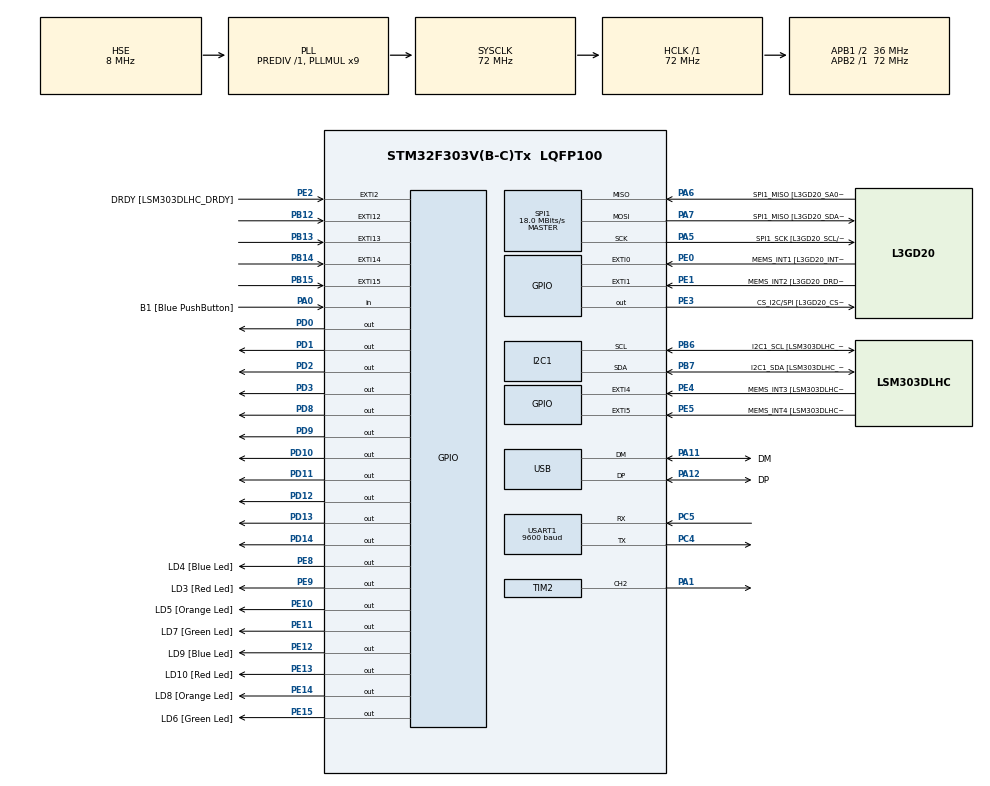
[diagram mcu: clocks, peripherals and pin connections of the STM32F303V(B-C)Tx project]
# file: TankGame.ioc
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I2C1.Timing-I2C=0x2000090E
Mcu.Family=STM32F3
Mcu.Name=STM32F303V(B-C)Tx
Mcu.Package=LQFP100
NVIC.EXTI15_10_IRQn=true\:1\:0\:true\:false\:true\:true\:true\:true
NVIC.PriorityGroup=NVIC_PRIORITYGROUP_1
NVIC.TIM1_BRK_TIM15_IRQn=true\:0\:0\:false\:false\:true\:true\:true\:true
NVIC.TIM1_CC_IRQn=true\:0\:0\:false\:false\:true\:true\:true\:true
NVIC.TIM1_TRG_COM_TIM17_IRQn=true\:0\:0\:false\:false\:true\:true\:true\:true
NVIC.TIM1_UP_TIM16_IRQn=true\:0\:0\:false\:false\:true\:true\:true\:true
NVIC.USART1_IRQn=true\:0\:0\:false\:false\:true\:true\:true\:true
PA0.GPIO_Label=B1 [Blue PushButton]
PA0.Signal=GPIO_Input
PA1.Signal=S_TIM2_CH2
PA11.GPIO_Label=DM
PA11.Mode=Device
PA11.Signal=USB_DM
PA12.GPIO_Label=DP
PA12.Mode=Device
PA12.Signal=USB_DP
PA13.GPIO_Label=SWDIO
PA13.Mode=Serial_Wire
PA13.Signal=SYS_JTMS-SWDIO
PA14.GPIO_Label=SWCLK
PA14.Mode=Serial_Wire
PA14.Signal=SYS_JTCK-SWCLK
PA5.GPIO_Label=SPI1_SCK [L3GD20_SCL/SPC]
PA5.Mode=Full_Duplex_Master
PA5.Signal=SPI1_SCK
PA6.GPIO_Label=SPI1_MISO [L3GD20_SA0/SDO]
PA6.Mode=Full_Duplex_Master
PA6.Signal=SPI1_MISO
PA7.GPIO_Label=SPI1_MISO [L3GD20_SDA/SDI/SDO]
PA7.Mode=Full_Duplex_Master
PA7.Signal=SPI1_MOSI
PB12.GPIO_ModeDefaultEXTI=GPIO_MODE_IT_RISING
PB12.GPIO_PuPd=GPIO_PULLDOWN
PB12.Signal=GPXTI12
PB13.GPIO_ModeDefaultEXTI=GPIO_MODE_IT_RISING
PB13.GPIO_PuPd=GPIO_PULLDOWN
PB13.Signal=GPXTI13
PB14.GPIO_ModeDefaultEXTI=GPIO_MODE_IT_RISING
PB14.GPIO_PuPd=GPIO_PULLDOWN
PB14.Signal=GPXTI14
PB15.GPIO_ModeDefaultEXTI=GPIO_MODE_IT_RISING
PB15.GPIO_PuPd=GPIO_PULLDOWN
PB15.Signal=GPXTI15
PB3.GPIO_Label=SWO
PB3.Signal=SYS_JTDO-TRACESWO
PB6.GPIO_Label=I2C1_SCL [LSM303DLHC_SCL]
PB6.GPIO_Pu=GPIO_PULLUP
PB6.Mode=I2C
PB6.Signal=I2C1_SCL
PB7.GPIO_Label=I2C1_SDA [LSM303DLHC_SDA]
PB7.GPIO_Pu=GPIO_PULLUP
PB7.Mode=I2C
PB7.Signal=I2C1_SDA
PC14-OSC32_IN.GPIO_Label=OSC32_IN
PC14-OSC32_IN.Signal=RCC_OSC32_IN
PC15-OSC32_OUT.GPIO_Label=OSC32_OUT
PC15-OSC32_OUT.Signal=RCC_OSC32_OUT
PC4.Mode=Asynchronous
PC4.Signal=USART1_TX
PC5.Mode=Asynchronous
PC5.Signal=USART1_RX
PD0.Signal=GPIO_Output
PD1.Signal=GPIO_Output
PD10.Signal=GPIO_Output
PD11.Signal=GPIO_Output
PD12.Signal=GPIO_Output
PD13.Signal=GPIO_Output
PD14.Signal=GPIO_Output
PD2.Signal=GPIO_Output
PD3.Signal=GPIO_Output
PD8.Signal=GPIO_Output
PD9.Signal=GPIO_Output
PE0.GPIO_Label=MEMS_INT1 [L3GD20_INT1]
PE0.GPIO_ModeDefaultEXTI=GPIO_MODE_EVT_RISING
PE0.Signal=GPXTI0
PE1.GPIO_Label=MEMS_INT2 [L3GD20_DRDY/INT2]
PE1.GPIO_ModeDefaultEXTI=GPIO_MODE_EVT_RISING
PE1.Signal=GPXTI1
PE10.GPIO_Label=LD5 [Orange Led]
PE10.Signal=GPIO_Output
PE11.GPIO_Label=LD7 [Green Led]
PE11.Signal=GPIO_Output
PE12.GPIO_Label=LD9 [Blue Led]
PE12.Signal=GPIO_Output
PE13.GPIO_Label=LD10 [Red Led]
PE13.Signal=GPIO_Output
PE14.GPIO_Label=LD8 [Orange Led]
PE14.Signal=GPIO_Output
PE15.GPIO_Label=LD6 [Green Led]
PE15.Signal=GPIO_Output
PE2.GPIO_Label=DRDY [LSM303DLHC_DRDY]
PE2.GPIO_ModeDefaultEXTI=GPIO_MODE_EVT_RISING
PE2.Signal=GPXTI2
PE3.GPIO_Label=CS_I2C/SPI [L3GD20_CS_I2C/SPI]
PE3.Signal=GPIO_Output
PE4.GPIO_Label=MEMS_INT3 [LSM303DLHC_INT1]
PE4.GPIO_ModeDefaultEXTI=GPIO_MODE_EVT_RISING
PE4.Signal=GPXTI4
PE5.GPIO_Label=MEMS_INT4 [LSM303DLHC_INT2]
PE5.GPIO_ModeDefaultEXTI=GPIO_MODE_EVT_RISING
PE5.Signal=GPXTI5
PE8.GPIO_Label=LD4 [Blue Led]
PE8.Signal=GPIO_Output
PE9.GPIO_Label=LD3 [Red Led]
PE9.Signal=GPIO_Output
PF0-OSC_IN.GPIO_Label=OSC_IN
PF0-OSC_IN.Mode=HSE-External-Clock-Source
PF0-OSC_IN.Signal=RCC_OSC_IN
PF1-OSC_OUT.GPIO_Label=OSC_OUT
PF1-OSC_OUT.Signal=RCC_OSC_OUT
ProjectManager.HeapSize=0x200
ProjectManager.StackSize=0x400
ProjectManager.TargetToolchain=STM32CubeIDE
RCC.AHBFreq_Value=72000000
RCC.APB1CLKDivider=RCC_HCLK_DIV2
RCC.APB1Freq_Value=36000000
RCC.APB1TimFreq_Value=72000000
RCC.APB2Freq_Value=72000000
RCC.APB2TimFreq_Value=72000000
RCC.CortexFreq_Value=72000000
RCC.HCLKFreq_Value=72000000
RCC.HSE_VALUE=8000000
RCC.HSI_VALUE=8000000
RCC.LSE_VALUE=32768
RCC.PLLMUL=RCC_PLL_MUL9
RCC.PRESCALERUSB=RCC_USBCLKSOURCE_PLL_DIV1_5
RCC.SYSCLKFreq_VALUE=72000000
RCC.SYSCLKSourceVirtual=RCC_SYSCLKSOURCE_PLLCLK
RCC.USBFreq_Value=48000000
RTC.AsynchPrediv=39
RTC.SynchPrediv=999
SH.S_TIM2_CH2.0=TIM2_CH2,PWM Generation2 CH2
SPI1.BaudRatePrescaler=SPI_BAUDRATEPRESCALER_4
SPI1.BaudRatePrescaler-Full_Duplex_Master=SPI_BAUDRATEPRESCALER_2
SPI1.CalculateBaudRate=18.0 MBits/s
SPI1.CalculateBaudRate-Full_Duplex_Master=24.0 MBits/s
SPI1.Direction=SPI_DIRECTION_2LINES
SPI1.Mode=SPI_MODE_MASTER
SPI1.Mode-Full_Duplex_Master=SPI_MODE_MASTER
SPI1.VirtualType=VM_MASTER
TIM1.Period=10000-1
TIM1.Prescaler=4800-1
TIM2.Channel-PWM\ Generation2\ CH2=TIM_CHANNEL_2
USART1.BaudRate=9600
USART1.VirtualMode-Asynchronous=VM_ASYNC
VP_RTC_VS_RTC_Activate.Mode=RTC_Enabled
VP_RTC_VS_RTC_Calendar.Mode=RTC_Calendar
VP_TIM1_VS_ClockSourceINT.Mode=Internal
board=STM32F3DISCOVERY

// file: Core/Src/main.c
/* USER CODE BEGIN Header */
/**
 ******************************************************************************
 * @file           : main.c
 * @brief          : Main program body
 ******************************************************************************
 * @attention
 *
 * Copyright (c) 2024 STMicroelectronics.
 * All rights reserved.
 *
 * This software is licensed under terms that can be found in the LICENSE file
 * in the root directory of this software component.
 * If no LICENSE file comes with this software, it is provided AS-IS.
 *
 ******************************************************************************
 */
/* USER CODE END Header */
#include "main.h"

/* USER CODE BEGIN PD */
#define NUM_HEARTS 3
#define NUM_BOXES 2
#define NUM_BULLETS 5
#define NUM_OBSTACLE 6
#define LCD_WIDTH 38
#define LCD_HEIGHT 2
/* USER CODE END PD */

I2C_HandleTypeDef hi2c1;

RTC_HandleTypeDef hrtc;

SPI_HandleTypeDef hspi1;

TIM_HandleTypeDef htim1;
TIM_HandleTypeDef htim2;

UART_HandleTypeDef huart1;

PCD_HandleTypeDef hpcd_USB_FS;

/* USER CODE BEGIN PV */
typedef enum {
	UP, DOWN, LEFT, RIGHT
} Direction;

int screen = 0; //0=main 1=play 2=about 3=setting 4=health 5=bullets
int R_Health = 5;
int L_Health = 5;
int R_bullets = 2;
int L_bullets = 1;
int dir = 0;
int shotedR = 0;
int shotedL = 0;
int shootFlag = 0;
int vfx = 1; //1 if on 0 if off
int win = 0;
int spawner = 0;

typedef unsigned char byte;
byte bullet[8] = { 0x08, 0x1C, 0x0B, 0x07, 0x0E, 0x1C, 0x08, 0x00 };
byte heart[8] = { 0x00, 0x0A, 0x1F, 0x1F, 0x1F, 0x0E, 0x04, 0x00 };
byte MisteryBox[8] = { 0x1F, 0x11, 0x15, 0x1D, 0x1B, 0x1B, 0x1F, 0x1B };
byte wall[8] = { 0x1F, 0x1F, 0x1F, 0x1F, 0x1F, 0x1F, 0x1F, 0x1F };
byte obstacle[8] = { 0x1F, 0x0E, 0x0E, 0x0E, 0x0E, 0x0E, 0x0E, 0x1F };
byte leftFox[8] = { 0x00, 0x00, 0x06, 0x1A, 0x0F, 0x1A, 0x06, 0x00 };
byte rightFox[8] = { 0x00, 0x00, 0x0C, 0x0B, 0x1E, 0x0B, 0x0C, 0x00 };
byte topFox[8] = { 0x00, 0x00, 0x00, 0x0A, 0x0E, 0x15, 0x1F, 0x04 };
byte bottomFox[8] = { 0x00, 0x04, 0x1F, 0x15, 0x0E, 0x0A, 0x00, 0x00 };
byte Shot[8] = { 0x00, 0x00, 0x00, 0x04, 0x0E, 0x04, 0x00, 0x00 };

typedef struct {
	int x;
	int y;
	char c;
} misteryBoxOBJ;
typedef struct {
	int x;
	int y;
	char c;
} heartOBJ;
typedef struct {
	int x;
	int y;
	char c;
} bulletOBJ;
typedef struct {
	int x;
	int y;
	char c;
} obstacleOBJ;
typedef struct {
	int x;
	int y;
	Direction direction;
	char c;
	int score;
} Player;
typedef struct {
	int col;
	int row;
	Direction direction;
	int isAlive;
} fire;
int num_shooted_bullet = 0;
fire fires[100];

Player playerR;
Player playerL;
byte *foxStates[4] = { leftFox, rightFox, topFox, bottomFox };
int currentStateR = 0;
int currentStateL = 0;
heartOBJ hearts[NUM_HEARTS];
misteryBoxOBJ boxes[NUM_BOXES];
bulletOBJ bullets[NUM_BULLETS];
obstacleOBJ obstacles[NUM_OBSTACLE];
char lcd[LCD_HEIGHT][LCD_WIDTH];

GPIO_TypeDef *const Row_ports[] = { GPIOB, GPIOB, GPIOB, GPIOB };
const uint16_t Row_pins[] =
		{ GPIO_PIN_12, GPIO_PIN_13, GPIO_PIN_14, GPIO_PIN_15 };
// RIGHT WIRES: Column1 PB12, Column2 PB13, Column3 PB14, Column4 PB15
GPIO_TypeDef *const Column_ports[] = { GPIOD, GPIOD, GPIOD, GPIOD };
const uint16_t Column_pins[] =
		{ GPIO_PIN_0, GPIO_PIN_1, GPIO_PIN_2, GPIO_PIN_3 };
// LEFT WIRES : D0 , D1,D2,D3
volatile uint32_t last_gpio_exti;

void HAL_GPIO_EXTI_Callback(uint16_t GPIO_Pin) {

	if (last_gpio_exti + 200 > HAL_GetTick()) // Simple button debouncing
			{
		return;
	}
	last_gpio_exti = HAL_GetTick();

	int8_t row_number = -1;
	int8_t column_number = -1;

	if (GPIO_Pin == GPIO_PIN_0) {
		// blue_button_pressed = 1;
		// return;
	}

	for (uint8_t row = 0; row < 4; row++) // Loop through Rows
			{
		if (GPIO_Pin == Row_pins[row]) {
			row_number = row;
		}
	}

	HAL_GPIO_WritePin(Column_ports[0], Column_pins[0], 0);
	HAL_GPIO_WritePin(Column_ports[1], Column_pins[1], 0);
	HAL_GPIO_WritePin(Column_ports[2], Column_pins[2], 0);
	HAL_GPIO_WritePin(Column_ports[3], Column_pins[3], 0);

	for (uint8_t col = 0; col < 4; col++) // Loop through Columns
			{
		HAL_GPIO_WritePin(Column_ports[col], Column_pins[col], 1);
		if (HAL_GPIO_ReadPin(Row_ports[row_number], Row_pins[row_number])) {

			column_number = col;
		}
		HAL_GPIO_WritePin(Column_ports[col], Column_pins[col], 0);
	}

	HAL_GPIO_WritePin(Column_ports[0], Column_pins[0], 1);
	HAL_GPIO_WritePin(Column_ports[1], Column_pins[1], 1);
	HAL_GPIO_WritePin(Column_ports[2], Column_pins[2], 1);
	HAL_GPIO_WritePin(Column_ports[3], Column_pins[3], 1);

	if (row_number == -1 || column_number == -1) {
		return; // Reject invalid scan
	}
	//   C0   C1   C2   C3
	// +----+----+----+----+
	// | 1  | 2  | 3  | 4  |  R0
	// +----+----+----+----+
	// | 5  | 6  | 7  | 8  |  R1
	// +----+----+----+----+
	// | 9  | 10 | 11 | 12 |  R2
	// +----+----+----+----+
	// | 13 | 14 | 15 | 16 |  R3
	// +----+----+----+----+
	//1 - 6 - 9 for the Right Player
	//4 -7 -12 for the left player
	const uint8_t button_number = row_number * 4 + column_number + 1;
	switch (button_number) {
	case 1:
		//TO DECREASE IN SETTING
		if (screen == 4) {
			R_Health = (R_Health + 10 - 1) % 10;
			HealthSetting();
		} else if (screen == 5) {
			R_bullets = (R_bullets + 10 - 1) % 10;
			bulletsSetting();
		}
		if (screen == 0) {
			screen = 1;
			HAL_TIM_Base_Start_IT(&htim1);
			refreshAll();
			initializeObjects();
			displayObjects();
		}
		if (screen == 1) {
			if (R_bullets > 0) {
				R_bullets--;
				shoot(&playerR);
				HAL_UART_Transmit(&huart1, "-Bullet for right", 16, 100000);
			}
		}

		/* code */
		break;
	case 2:

		if (screen == 0) {
			screen = 2;
			refreshAll();
			showAbout();
		}
		/* code */
		break;
	case 3:
		HAL_UART_Transmit(&huart1, "3", 1,
		HAL_MAX_DELAY);
		if (screen == 0) {
			screen = 3;
			refreshAll();
			showSetting();
		}
		/* code */
		break;
	case 4:
		if (screen == 1) {
			if (L_bullets > 0) {
				L_bullets--;
				shoot(&playerL);
				HAL_UART_Transmit(&huart1, "-Bullet for left", 15, 100000);
			}
			//shot(playerR.x, playerR.y + 1, currentStateR % 2);
		}

		//TO DECREASE IN SETTING
		if (screen == 4) {
			L_Health = (L_Health + 10 - 1) % 10;
			HealthSetting();
		} else if (screen == 5) {
			L_bullets = (L_bullets + 10 - 1) % 10;
			bulletsSetting();
		}

		break;
	case 5:
		HAL_UART_Transmit(&huart1, "5", 1,
		HAL_MAX_DELAY);
		/* code */
		break;
	case 6:
		HAL_UART_Transmit(&huart1, "6", 1,
		HAL_MAX_DELAY);
		changeFoxStateR(0);
		break;
	case 7:
		HAL_UART_Transmit(&huart1, "7", 1,
		HAL_MAX_DELAY);
		changeFoxStateR(1);
		/* code */
		break;
	case 8:
		//back btn
		refreshAll();
		if (screen == 4 | screen == 5) {
			screen = 3;
			showSetting();
		} else {
			screen = 0;
			showMain();
		}

		HAL_UART_Transmit(&huart1, "B", 1,
		HAL_MAX_DELAY);
		/* code */
		break;
	case 9:

		if (screen == 4) {
			R_Health = (R_Health + 1) % 10;
			HealthSetting();
		} else if (screen == 5) {
			R_bullets = (R_bullets + 1) % 10;
			bulletsSetting();
		}
		//right player
		if (screen == 1) {
			movement(&playerR, currentStateR);
		}
		break;
	case 10:
		/* code */
		break;
	case 11:
		/* code */
		break;
	case 12:
		if (screen == 4) {
			L_Health = (L_Health + 1) % 10;
			HealthSetting();
		} else if (screen == 5) {
			L_bullets = (L_bullets + 1) % 10;
			bulletsSetting();
		}
		if (screen == 1) {
			movement(&playerL, currentStateL);
		}
		/* code */
		break;
	case 13:
		/* code */
		if (screen = 3) {
			setCursor(20, 1);
			print("                   ");
			HealthSetting();
			screen = 4;
		}
		break;
	case 14:
		/* code */
		if (screen == 3) {
			screen = 5;
			setCursor(20, 1);
			print("                   ");
			bulletsSetting();
		}
		break;
	case 15:
		if (screen == 3) {
			vfx = (vfx + 1) % 2;
		}
		if (screen == 4 | screen == 5) {
			screen = 3;
			showSetting();
		}
		/* code */
		break;
	case 16:
		/* code */
		break;

	default:
		break;
	}
}

void refreshAll(void) {
	setCursor(0, 0);
	print("                   ");
	setCursor(0, 1);
	print("                   ");
	setCursor(20, 0);
	print("                   ");
	setCursor(20, 1);
	print("                   ");
}
/* USER CODE END PV */

void SystemClock_Config(void);
static void MX_GPIO_Init(void);
static void MX_I2C1_Init(void);
static void MX_SPI1_Init(void);
static void MX_USB_PCD_Init(void);
static void MX_USART1_UART_Init(void);
static void MX_RTC_Init(void);
static void MX_TIM1_Init(void);
static void MX_TIM2_Init(void);

/* USER CODE BEGIN 0 */

void changeFoxStateR(int Player) {
	byte *currentFoxR = foxStates[currentStateR];
	byte *currentFoxL = foxStates[currentStateL];

	if (!Player) {
		createChar(7, currentFoxR);
		currentStateR = (currentStateR + 1) % 4;
	} else {
		createChar(8, currentFoxL);
		currentStateL = (currentStateL + 1) % 4;
	}
	switch (currentStateR) {
	case 0:
		playerR.direction = UP;
		break;
	case 1:
		playerR.direction = RIGHT;
		break;
	case 2:
		playerR.direction = LEFT;
		break;
	case 3:
		playerR.direction = DOWN;
		break;
	default:
		break;
	}
	switch (currentStateL) {
	case 0:
		playerL.direction = UP;
		break;
	case 1:
		playerL.direction = RIGHT;
		break;
	case 2:
		playerL.direction = LEFT;
		break;
	case 3:
		playerL.direction = DOWN;
		break;
	default:
		break;
	}

}
void increase(int isHealth, Player *player) {
	if (isHealth) {
		if (player->c == 7) {
			R_Health++;
			if (R_Health > 9) {
				R_Health = 9;
			}
		} else {
			L_Health++;
			if (L_Health > 9) {
				L_Health = 9;
			}
		}
	} else {
		if (player->c == 7) {
			R_bullets++;
			if (R_bullets > 9) {
				R_bullets = 9;
			}
		} else {
			L_bullets++;
			if (L_bullets > 9) {
				L_bullets = 9;
			}
		}
	}
}

void shoot(Player *player) {

//	if (vfx) {
//		playExplosionSound();
//	}

	num_shooted_bullet++;

	for (int i = 0; i < num_shooted_bullet; i++) {
		if (!fires[i].isAlive) {
			fires[i].col = player->y;
			fires[i].row = player->x;
			fires[i].direction = player->direction;
			fires[i].isAlive = 1;
			shootFlag = 1;
			break;
		}
	}
}

void shotPosition() {
	for (int k = 0; k < num_shooted_bullet; k++) {
		if (fires[k].isAlive) {

			int col = fires[k].col;
			int row = fires[k].row;

			switch (fires[k].direction) {
			case RIGHT:
				fires[k].col++;
				break;
			case DOWN:
				if (row == 0) {
					fires[k].row = 1;
				} else if (row == 1 & col < 20) {
					fires[k].row = 0;
					fires[k].col += 20;
				}
				break;
			case LEFT:
				fires[k].col--;
				break;
			case UP:
				if (row == 1) {
					fires[k].row = 0;
				} else if (row == 0 & col >= 20) {
					fires[k].row = 1;
					fires[k].col -= 20;
				}
				break;
			default:
				break;
			}

			int f = lcd[fires[k].col][fires[k].row];

			if (f == 1 || f == 2 || f == 5) { // if health / bulletIcon / chance jump them
				do {
					switch (fires[k].direction) {
					case RIGHT:
						fires[k].col++;
						break;
					case DOWN:
						if (row == 0) {
							fires[k].row = 1;
						} else if (row == 1 & col < 20) {
							fires[k].row = 0;
							fires[k].col += 20;
						}
						break;
					case LEFT:
						fires[k].col--;
						break;
					case UP:
						if (row == 1) {
							fires[k].row = 0;
						} else if (row == 0 & col >= 20) {
							fires[k].row = 1;
							fires[k].col -= 20;
						}
						break;
					default:
						break;
					}

					f = lcd[fires[k].col][fires[k].row];
				} while (f == 5 || f == 1 || f == 2);
			} else if (f == 4) { //if wall
				fires[k].isAlive = 0;
			} else if (f == 3) { //if barrier
				lcd[fires[k].row][fires[k].col] = ' ';
//				HAL_UART_Transmit(&huart1, lcd[fires[k].row][fires[k].col], 1,
//						100000);
				fires[k].isAlive = 0;
			} else if (fires[k].col == playerR.y && fires[k].row == playerR.x) {
				//decreaseHealth playerR ;
				R_Health--;
				playerL.score++;
//				if (vfx) {
//					playTankHitSound();
//				}
				fires[k].isAlive = 0;
			} else if (fires[k].col == playerL.y && fires[k].row == playerL.x) {
				//decreaseHealth(playerL);
				L_Health--;
				playerR.score++;
				if (vfx) {
//					playTankHitSound();
				}
				fires[k].isAlive = 0;
			} else if (fires[k].col < 0 || fires[k].col >= 40
					|| fires[k].row < 0 || fires[k].row >= 2) {
				fires[k].isAlive = 0;
			}

			if (!(col == playerR.x && row == playerR.y)
					&& !(col == playerL.x && row == playerR.y)) {
				setCursor(col, row);
				print(" ");
				HAL_Delay(500);
			}

			if (fires[k].isAlive) {
				setCursor(fires[k].col, fires[k].row);
				write(6);
			} else {
				//num_shooted_bullet--;
				shootFlag = 0;
				setCursor(col, row);
				print(" ");
				fires[k].col = -1;
				fires[k].row = -1;
			}
		}

	}
}
void movement(Player *player, int currentState) {
//	char buffer[50]; // Buffer to hold the string
//
//	sprintf(buffer, "Player X: %d, Player Y: %d", player->x, player->y); // Convert integers to string
//
//	HAL_UART_Transmit(&huart1, (uint8_t*) buffer, strlen(buffer),
//	HAL_MAX_DELAY); // Transmit string over UART
	int oldX = player->x;
	int oldY = player->y;
	switch (currentState) {
	case 0:	//top

		if (player->x == 1 && lcd[0][player->y] != 4
				&& lcd[0][player->y] != 3) {
			//catching heart and bullet
			if (lcd[0][player->y] == 1) {
				increase(1, player);
			} else if (lcd[0][player->y] == 5) {
				increase(0, player);
			}
			player->x = 0;
		} else if (player->x == 0 && player->y >= 20) {
			if (lcd[1][(player->y) - 20] != 4
					&& lcd[1][(player->y) - 20] != 3) {
				//catching heart and bullet
				if (lcd[1][(player->y) - 20] == 1) {
					increase(1, player);
				} else if (lcd[1][(player->y) - 20] == 5) {
					increase(0, player);
				}
				player->x = 1;
				player->y = (player->y) - 20;
			}
		} else {
			HAL_UART_Transmit(&huart1, "CANT TOP", 8,
			HAL_MAX_DELAY);
		}
		break;
	case 1:	//right

		if (player->y >= 0 && player->y < 19) {
			if (lcd[player->x][(player->y) + 1] != 3
					&& lcd[player->x][(player->y) + 1] != 4) {
				//catching heart and bullet
				if (lcd[player->x][(player->y) + 1] == 1) {
					increase(1, player);
				} else if (lcd[player->x][(player->y) + 1] == 5) {
					increase(0, player);
				}
				player->y = (player->y) + 1;
			}
		} else if (player->y < 39 && player->y >= 20) {
			if (lcd[player->x][(player->y) + 1] != 3
					&& lcd[player->x][(player->y) + 1] != 4) {
				//catching heart and bullet
				if (lcd[player->x][(player->y) + 1] == 1) {
					increase(1, player);
				} else if (lcd[player->x][(player->y) + 1] == 5) {
					increase(0, player);
				}
				player->y = (player->y) + 1;
			}
		} else {
			HAL_UART_Transmit(&huart1, "CANT RIGHt", 10,
			HAL_MAX_DELAY);
		}
		break;

	case 2:	//left

		if (player->y > 0 && player->y <= 19) {
			if (lcd[player->x][(player->y) - 1] != 3
					&& lcd[player->x][(player->y) - 1] != 4) {
				//catching heart and bullet
				if (lcd[player->x][(player->y) - 1] == 1) {
					increase(1, player);
				} else if (lcd[player->x][(player->y) - 1] == 5) {
					increase(0, player);
				}

				player->y = (player->y) - 1;
			}
		} else if (player->y <= 39 && player->y > 20) {
			if (lcd[player->x][(player->y) - 1] != 3
					&& lcd[player->x][(player->y) - 1] != 4) {

				//catching heart and bullet
				if (lcd[player->x][(player->y) - 1] == 1) {
					increase(1, player);
				} else if (lcd[player->x][(player->y) - 1] == 5) {
					increase(0, player);
				}

				player->y = (player->y) - 1;
			}
		} else {
			HAL_UART_Transmit(&huart1, "CANT LEFT", 9,
			HAL_MAX_DELAY);
		}
		break;
		break;
	case 3:	//bot
		if (player->x == 0 && lcd[1][player->y] != 4
				&& lcd[1][player->y] != 3) {
			//catching heart and bullet
			if (lcd[1][player->y] == 1) {
				increase(1, player);
			} else if (lcd[1][player->y] == 5) {
				increase(0, player);
			}

			player->x = 1;
		} else if (player->x == 1 && player->y < 20) {
			if (lcd[0][(player->y) + 20] != 4) {
				//catching heart and bullet
				if (lcd[0][(player->y) + 20] == 1) {
					increase(1, player);
				} else if (lcd[0][(player->y) + 20] == 5) {
					increase(0, player);
				}
				player->x = 0;
				player->y = (player->y) + 20;
			}
		} else {
			HAL_UART_Transmit(&huart1, "CANT BOT", 8,
			HAL_MAX_DELAY);
		}
		break;
	}

	lcd[player->x][player->y] = player->c;

	// Clear the old position on the LCD
	setCursor(oldY, oldX);
	write(' ');

	// Write the player's character at the new position on the LCD
	setCursor(player->y, player->x);
	write(player->c);

}

void initializeObjects() {
	playerR.x = 1;
	playerR.y = 19;
	playerR.c = 7;
	playerL.c = 8;
	playerL.x = 1;
	playerL.y = 0;
	for (int i = 0; i < LCD_HEIGHT; i++) {
		for (int j = 0; j < LCD_WIDTH; j++) {
			lcd[i][j] = ' ';  // Empty cell
		}
	}

	//hearts
	for (int i = 0; i < NUM_HEARTS; i++) {
		hearts[i].x = 3 + rand() % 28;  // Random number between 3 and 30
		hearts[i].y = rand() % 2;       // Random number between 0 and 1
		hearts[i].c = 1;
	}

	//  mistery boxes
	for (int i = 0; i < NUM_BOXES; i++) {
		boxes[i].x = 3 + rand() % 28;  // Random number between 3 and 30
		boxes[i].y = rand() % 2;       // Random number between 0 and 1
		boxes[i].c = 2;
	}

	//bullets
	for (int i = 0; i < NUM_BULLETS; i++) {
		bullets[i].x = 3 + rand() % 28;  // Random number between 3 and 30
		bullets[i].y = rand() % 2;       // Random number between 0 and 1
		bullets[i].c = 5;
	}
	//obstacles
	for (int i = 0; i < NUM_OBSTACLE; i++) {
		obstacles[i].x = 3 + rand() % 28;  // Random number between 3 and 30
		obstacles[i].y = rand() % 2;       // Random number between 0 and 1
		obstacles[i].c = 4;
	}
	for (int i = 0; i < NUM_HEARTS; i++) {
		lcd[hearts[i].y][hearts[i].x] = hearts[i].c;
	}
	for (int i = 0; i < NUM_BULLETS; i++) {
		lcd[bullets[i].y][bullets[i].x] = bullets[i].c;
	}
	for (int i = 0; i < NUM_BOXES; i++) {
		lcd[boxes[i].y][boxes[i].x] = boxes[i].c;
	}
	for (int i = 0; i < NUM_OBSTACLE; i++) {
		lcd[obstacles[i].y][obstacles[i].x] = obstacles[i].c;
	}
	//WALLS
	lcd[1][1] = 3;
	lcd[0][22] = 3;
	lcd[1][18] = 3;
	lcd[0][37] = 3;

	//[0][38] [0][39] [1][38] [1][39]  are dead
	//Wolves
	lcd[playerR.x][playerR.y] = playerR.c;
	lcd[playerL.x][playerL.y] = playerL.c;
	//lcd[1][0]=8;
	//lcd[1][19]=7;
}

void displayObjects() {
	// Display the objects based on the screen array
	for (int i = 0; i < LCD_HEIGHT; i++) {
		for (int j = 0; j < LCD_WIDTH; j++) {
			setCursor(j, i);
			write(lcd[i][j]);
		}
	}
}

//MENU PART
void showMain(void) {
	setCursor(0, 0);
	print("1- Play");
	setCursor(0, 1);
	print("2- About");
	write(1);
	setCursor(20, 0);
	print("3- Setting");
}

void showAbout(void) {
	setCursor(0, 0);
	print("Kimiya & Atiye");
}

void showSetting(void) {
	setCursor(0, 0);
	print("Right vs Left");
	setCursor(0, 1);
	print("0-Bullets");
	setCursor(20, 0);
	print("*-Health");
}

void bulletsSetting(void) {
	setCursor(0, 1);
	char RBStr[20];
	sprintf(RBStr, "Right Bullets:%d", R_bullets);
	print(RBStr);
	setCursor(20, 0);

	char LBStr[20];
	sprintf(LBStr, "Left Bullets:%d", L_bullets);
	print(LBStr);
	setCursor(20, 1);

	print("#-Confirm");
}

void HealthSetting(void) {
	setCursor(0, 1);
	char RBStr[20];
	sprintf(RBStr, "Right Health:%d", R_Health);
	print(RBStr);
	setCursor(20, 0);

	char LBStr[20];
	sprintf(LBStr, "Left Health:%d", L_Health);
	print(LBStr);
	setCursor(20, 1);

	print("#-Confirm");
}

//TIM_HandleTypeDef *pwm_timer = &htim2; // Point to PWM timer configured in CubeMX
//uint32_t pwm_channel = TIM_CHANNEL_2;  // Specify configured PWM channel
//
//void PWM_Start() {
//	HAL_TIM_PWM_Start(pwm_timer, pwm_channel);
//}
//
//void PWM_Change_Tone(uint16_t pwm_freq, uint16_t volume) // pwm_freq (1 - 20000), volume (0 - 1000)
//{
//	if (pwm_freq == 0 || pwm_freq > 20000) {
//		__HAL_TIM_SET_COMPARE(pwm_timer, pwm_channel, 0);
//	} else {
//		const uint32_t internal_clock_freq = HAL_RCC_GetSysClockFreq();
//		const uint16_t prescaler = 1 + internal_clock_freq / pwm_freq / 60000;
//		const uint32_t timer_clock = internal_clock_freq / prescaler;
//		const uint32_t period_cycles = timer_clock / pwm_freq;
//		const uint32_t pulse_width = volume * period_cycles / 1000 / 2;
//
//		pwm_timer->Instance->PSC = prescaler - 1;
//		pwm_timer->Instance->ARR = period_cycles - 1;
//		pwm_timer->Instance->EGR = TIM_EGR_UG;
//		__HAL_TIM_SET_COMPARE(pwm_timer, pwm_channel, pulse_width); // pwm_timer->Instance->CCR2 = pulse_width;
//	}
//}

void spawnRandomObject() {

	int x, y;
	do {
		x = rand() % LCD_WIDTH;
		y = rand() % LCD_HEIGHT;
	} while (lcd[y][x] != ' ');

	if (rand() % 2 == 0) {

		lcd[y][x] = 1; //heart
	} else {

		lcd[y][x] = 5; //bullets
	}
	HAL_UART_Transmit(&huart1, lcd[y][x], 1,
	HAL_MAX_DELAY);
	setCursor(x, y);
	write(lcd[y][x]);
}

//CALL BACKS-----------------------------------------------------------------

void HAL_TIM_PeriodElapsedCallback(TIM_HandleTypeDef *htim) {
	if (htim->Instance == TIM1) {
		if (screen == 1) {
			spawner++;
			if (spawner >= 30) {
				spawnRandomObject();
				spawner = 0;
			}
		}
	}
}

//void HAL_UART_TxCpltCallback(UART_HandleTypeDef *huart) {
//  if (huart->Instance == USART3) {
//    memset(inArray, '\0', sizeof(inArray));
//  }
//}
//
//void HAL_UART_RxCpltCallback(UART_HandleTypeDef *huart) {
//  if (huart->Instance == USART3) {
//    inArray[idx] = rx_byte;
//    idx++;
//    if (idx == 9) {
//      idx = 0;
//      parser();
//      uarttime = 0;
//      uartdate = 1;
//    }
//    HAL_UART_Receive_IT(&huart3, &rx_byte, 1);
//  }
//}

//SETTERS -----------------------------------------------------------------

void setScore(int score) {
	char buffer[50];
	sprintf(buffer, "\nScore: %d", score);
	HAL_UART_Transmit(&huart1, (uint8_t*) buffer, strlen(buffer),
	HAL_MAX_DELAY);
}
//void setRtcTime() {
//  mytime.Hours = (int) hour;
//  mytime.Minutes = (int) minute;
//  mytime.Seconds = (int) second;
//
//  if (HAL_RTC_SetTime(&hrtc, &mytime, RTC_FORMAT_BIN) != HAL_OK) {
//    Error_Handler();
//  }
//
//  mydate.Year = year;
//  mydate.Month = month;
//  mydate.Date = day;
//
//  if (HAL_RTC_SetDate(&hrtc, &mydate, RTC_FORMAT_BIN) != HAL_OK) {
//    Error_Handler();
//  }
//}
//

/* USER CODE END 0 */

int main(void)
{

  /* MCU Configuration--------------------------------------------------------*/

  /* Reset of all peripherals, Initializes the Flash interface and the Systick. */
  HAL_Init();

  /* Configure the system clock */
  SystemClock_Config();

  /* Initialize all configured peripherals */
  MX_GPIO_Init();
  MX_I2C1_Init();
  MX_SPI1_Init();
  MX_USB_PCD_Init();
  MX_USART1_UART_Init();
  MX_RTC_Init();
  MX_TIM1_Init();
  MX_TIM2_Init();
  /* USER CODE BEGIN 2 */
	HAL_GPIO_WritePin(GPIOB, GPIO_PIN_14, GPIO_PIN_SET);
	HAL_GPIO_WritePin(GPIOB, GPIO_PIN_15, GPIO_PIN_SET);
	HAL_GPIO_WritePin(GPIOB, GPIO_PIN_12, GPIO_PIN_SET);
	HAL_GPIO_WritePin(GPIOB, GPIO_PIN_13, GPIO_PIN_SET);
	HAL_UART_Transmit(&huart1, "yo", 2,
	HAL_MAX_DELAY);
	srand(time(NULL));  // Initialize the random number generator

	LiquidCrystal(GPIOD, GPIO_PIN_8, GPIO_PIN_9, GPIO_PIN_10, GPIO_PIN_11,
	GPIO_PIN_12, GPIO_PIN_13, GPIO_PIN_14);

	byte *foxStates[4] = { leftFox, rightFox, topFox, bottomFox };

	createChar(2, MisteryBox);
	createChar(3, wall);
	createChar(4, obstacle);
	createChar(1, heart);
	createChar(5, bullet);
	createChar(6, Shot);
	RTC_TimeTypeDef mytime;
	RTC_DateTypeDef mydate;
	mydate.Year = 02;
	mydate.Month = 11;
	mydate.Date = 17;
	HAL_RTC_SetDate(&hrtc, &mydate, RTC_FORMAT_BIN);
	//HAL_UART_Receive_IT(&huart3, &rx_byte, 1);
	char timeStr[20];
	char dateStr[20];
	showMain();
	call_change_melody();

  /* USER CODE END 2 */

  /* Infinite loop */
  /* USER CODE BEGIN WHILE */
	while (1) {

		if (screen ==1) {
			PWM_Stop();
		}

		if (shootFlag == 1) {
			shotPosition();
		}
    /* USER CODE END WHILE */

    /* USER CODE BEGIN 3 */
		if (R_Health == 0) {
			refreshAll();
			HAL_UART_Transmit(&huart1, "Right WON!", 10,
			HAL_MAX_DELAY);
			setScore(playerL.score);
			screen = -1;
			for (int i = 0; i < 19; i++) {
				setCursor(i, 1);
				write(1);
				HAL_Delay(400);
			}
		}

		if (L_Health == 0) {
			refreshAll();
			HAL_UART_Transmit(&huart1, "LEFT WON!", 9,
			HAL_MAX_DELAY);
			setScore(playerR.score);
			screen = -1;
			for (int i = 0; i < 19; i++) {
				setCursor(i, 1);
				write(1);
				HAL_Delay(400);
			}
		}
		if (screen == -1) {
			setCursor(7, 1);
			print("THE END");
		}
		if (screen == 2) {
//			if (timeFlag) {
//				setRtcTime();
//				timeFlag = 0;
//			}
			HAL_RTC_GetTime(&hrtc, &mytime, RTC_FORMAT_BIN);
			HAL_RTC_GetDate(&hrtc, &mydate, RTC_FORMAT_BIN);
			setCursor(20, 0);
			sprintf(timeStr, "%2d:%2d:%2d", mytime.Hours, mytime.Minutes,
					mytime.Seconds);

			print(timeStr);
			setCursor(20, 1);
			sprintf(dateStr, "%2d//%2d//%2d", mydate.Year, mydate.Month,
					mydate.Date);

			print(dateStr);

		}

		if (screen == 3) {
			setCursor(20, 1);
			if (vfx) {
				print("vfx on-# to turn off");
			} else {
				print("vfx off-# to turn on ");
			}
		}

	}
  /* USER CODE END 3 */
}

void SystemClock_Config(void)
{
  RCC_OscInitTypeDef RCC_OscInitStruct = {0};
  RCC_ClkInitTypeDef RCC_ClkInitStruct = {0};
  RCC_PeriphCLKInitTypeDef PeriphClkInit = {0};

  /** Initializes the RCC Oscillators according to the specified parameters
  * in the RCC_OscInitTypeDef structure.
  */
  RCC_OscInitStruct.OscillatorType = RCC_OSCILLATORTYPE_HSI|RCC_OSCILLATORTYPE_LSI
                              |RCC_OSCILLATORTYPE_HSE;
  RCC_OscInitStruct.HSEState = RCC_HSE_BYPASS;
  RCC_OscInitStruct.HSEPredivValue = RCC_HSE_PREDIV_DIV1;
  RCC_OscInitStruct.HSIState = RCC_HSI_ON;
  RCC_OscInitStruct.HSICalibrationValue = RCC_HSICALIBRATION_DEFAULT;
  RCC_OscInitStruct.LSIState = RCC_LSI_ON;
  RCC_OscInitStruct.PLL.PLLState = RCC_PLL_ON;
  RCC_OscInitStruct.PLL.PLLSource = RCC_PLLSOURCE_HSE;
  RCC_OscInitStruct.PLL.PLLMUL = RCC_PLL_MUL9;
  if (HAL_RCC_OscConfig(&RCC_OscInitStruct) != HAL_OK)
  {
    Error_Handler();
  }

  /** Initializes the CPU, AHB and APB buses clocks
  */
  RCC_ClkInitStruct.ClockType = RCC_CLOCKTYPE_HCLK|RCC_CLOCKTYPE_SYSCLK
                              |RCC_CLOCKTYPE_PCLK1|RCC_CLOCKTYPE_PCLK2;
  RCC_ClkInitStruct.SYSCLKSource = RCC_SYSCLKSOURCE_PLLCLK;
  RCC_ClkInitStruct.AHBCLKDivider = RCC_SYSCLK_DIV1;
  RCC_ClkInitStruct.APB1CLKDivider = RCC_HCLK_DIV2;
  RCC_ClkInitStruct.APB2CLKDivider = RCC_HCLK_DIV1;

  if (HAL_RCC_ClockConfig(&RCC_ClkInitStruct, FLASH_LATENCY_2) != HAL_OK)
  {
    Error_Handler();
  }
  PeriphClkInit.PeriphClockSelection = RCC_PERIPHCLK_USB|RCC_PERIPHCLK_USART1
                              |RCC_PERIPHCLK_I2C1|RCC_PERIPHCLK_RTC
                              |RCC_PERIPHCLK_TIM1;
  PeriphClkInit.Usart1ClockSelection = RCC_USART1CLKSOURCE_PCLK2;
  PeriphClkInit.I2c1ClockSelection = RCC_I2C1CLKSOURCE_HSI;
  PeriphClkInit.RTCClockSelection = RCC_RTCCLKSOURCE_LSI;
  PeriphClkInit.USBClockSelection = RCC_USBCLKSOURCE_PLL_DIV1_5;
  PeriphClkInit.Tim1ClockSelection = RCC_TIM1CLK_HCLK;
  if (HAL_RCCEx_PeriphCLKConfig(&PeriphClkInit) != HAL_OK)
  {
    Error_Handler();
  }
}

static void MX_I2C1_Init(void)
{

  hi2c1.Instance = I2C1;
  hi2c1.Init.Timing = 0x2000090E;
  hi2c1.Init.OwnAddress1 = 0;
  hi2c1.Init.AddressingMode = I2C_ADDRESSINGMODE_7BIT;
  hi2c1.Init.DualAddressMode = I2C_DUALADDRESS_DISABLE;
  hi2c1.Init.OwnAddress2 = 0;
  hi2c1.Init.OwnAddress2Masks = I2C_OA2_NOMASK;
  hi2c1.Init.GeneralCallMode = I2C_GENERALCALL_DISABLE;
  hi2c1.Init.NoStretchMode = I2C_NOSTRETCH_DISABLE;
  if (HAL_I2C_Init(&hi2c1) != HAL_OK)
  {
    Error_Handler();
  }

  /** Configure Analogue filter
  */
  if (HAL_I2CEx_ConfigAnalogFilter(&hi2c1, I2C_ANALOGFILTER_ENABLE) != HAL_OK)
  {
    Error_Handler();
  }

  /** Configure Digital filter
  */
  if (HAL_I2CEx_ConfigDigitalFilter(&hi2c1, 0) != HAL_OK)
  {
    Error_Handler();
  }

}

static void MX_RTC_Init(void)
{

  RTC_TimeTypeDef sTime = {0};
  RTC_DateTypeDef sDate = {0};

  /** Initialize RTC Only
  */
  hrtc.Instance = RTC;
  hrtc.Init.HourFormat = RTC_HOURFORMAT_24;
  hrtc.Init.AsynchPrediv = 39;
  hrtc.Init.SynchPrediv = 999;
  hrtc.Init.OutPut = RTC_OUTPUT_DISABLE;
  hrtc.Init.OutPutPolarity = RTC_OUTPUT_POLARITY_HIGH;
  hrtc.Init.OutPutType = RTC_OUTPUT_TYPE_OPENDRAIN;
  if (HAL_RTC_Init(&hrtc) != HAL_OK)
  {
    Error_Handler();
  }

  /** Initialize RTC and set the Time and Date
  */
  sTime.Hours = 0x0;
  sTime.Minutes = 0x0;
  sTime.Seconds = 0x0;
  sTime.DayLightSaving = RTC_DAYLIGHTSAVING_NONE;
  sTime.StoreOperation = RTC_STOREOPERATION_RESET;
  if (HAL_RTC_SetTime(&hrtc, &sTime, RTC_FORMAT_BCD) != HAL_OK)
  {
    Error_Handler();
  }
  sDate.WeekDay = RTC_WEEKDAY_MONDAY;
  sDate.Month = RTC_MONTH_JANUARY;
  sDate.Date = 0x1;
  sDate.Year = 0x0;

  if (HAL_RTC_SetDate(&hrtc, &sDate, RTC_FORMAT_BCD) != HAL_OK)
  {
    Error_Handler();
  }

}

static void MX_SPI1_Init(void)
{

  /* SPI1 parameter configuration*/
  hspi1.Instance = SPI1;
  hspi1.Init.Mode = SPI_MODE_MASTER;
  hspi1.Init.Direction = SPI_DIRECTION_2LINES;
  hspi1.Init.DataSize = SPI_DATASIZE_4BIT;
  hspi1.Init.CLKPolarity = SPI_POLARITY_LOW;
  hspi1.Init.CLKPhase = SPI_PHASE_1EDGE;
  hspi1.Init.NSS = SPI_NSS_SOFT;
  hspi1.Init.BaudRatePrescaler = SPI_BAUDRATEPRESCALER_4;
  hspi1.Init.FirstBit = SPI_FIRSTBIT_MSB;
  hspi1.Init.TIMode = SPI_TIMODE_DISABLE;
  hspi1.Init.CRCCalculation = SPI_CRCCALCULATION_DISABLE;
  hspi1.Init.CRCPolynomial = 7;
  hspi1.Init.CRCLength = SPI_CRC_LENGTH_DATASIZE;
  hspi1.Init.NSSPMode = SPI_NSS_PULSE_ENABLE;
  if (HAL_SPI_Init(&hspi1) != HAL_OK)
  {
    Error_Handler();
  }

}

static void MX_TIM1_Init(void)
{

  TIM_ClockConfigTypeDef sClockSourceConfig = {0};
  TIM_MasterConfigTypeDef sMasterConfig = {0};

  htim1.Instance = TIM1;
  htim1.Init.Prescaler = 4800-1;
  htim1.Init.CounterMode = TIM_COUNTERMODE_UP;
  htim1.Init.Period = 10000-1;
  htim1.Init.ClockDivision = TIM_CLOCKDIVISION_DIV1;
  htim1.Init.RepetitionCounter = 0;
  htim1.Init.AutoReloadPreload = TIM_AUTORELOAD_PRELOAD_DISABLE;
  if (HAL_TIM_Base_Init(&htim1) != HAL_OK)
  {
    Error_Handler();
  }
  sClockSourceConfig.ClockSource = TIM_CLOCKSOURCE_INTERNAL;
  if (HAL_TIM_ConfigClockSource(&htim1, &sClockSourceConfig) != HAL_OK)
  {
    Error_Handler();
  }
  sMasterConfig.MasterOutputTrigger = TIM_TRGO_RESET;
  sMasterConfig.MasterOutputTrigger2 = TIM_TRGO2_RESET;
  sMasterConfig.MasterSlaveMode = TIM_MASTERSLAVEMODE_DISABLE;
  if (HAL_TIMEx_MasterConfigSynchronization(&htim1, &sMasterConfig) != HAL_OK)
  {
    Error_Handler();
  }

}

static void MX_TIM2_Init(void)
{

  TIM_MasterConfigTypeDef sMasterConfig = {0};
  TIM_OC_InitTypeDef sConfigOC = {0};

  htim2.Instance = TIM2;
  htim2.Init.Prescaler = 0;
  htim2.Init.CounterMode = TIM_COUNTERMODE_UP;
  htim2.Init.Period = 4294967295;
  htim2.Init.ClockDivision = TIM_CLOCKDIVISION_DIV1;
  htim2.Init.AutoReloadPreload = TIM_AUTORELOAD_PRELOAD_DISABLE;
  if (HAL_TIM_PWM_Init(&htim2) != HAL_OK)
  {
    Error_Handler();
  }
  sMasterConfig.MasterOutputTrigger = TIM_TRGO_RESET;
  sMasterConfig.MasterSlaveMode = TIM_MASTERSLAVEMODE_DISABLE;
  if (HAL_TIMEx_MasterConfigSynchronization(&htim2, &sMasterConfig) != HAL_OK)
  {
    Error_Handler();
  }
  sConfigOC.OCMode = TIM_OCMODE_PWM1;
  sConfigOC.Pulse = 0;
  sConfigOC.OCPolarity = TIM_OCPOLARITY_HIGH;
  sConfigOC.OCFastMode = TIM_OCFAST_DISABLE;
  if (HAL_TIM_PWM_ConfigChannel(&htim2, &sConfigOC, TIM_CHANNEL_2) != HAL_OK)
  {
    Error_Handler();
  }
  HAL_TIM_MspPostInit(&htim2);

}

static void MX_USART1_UART_Init(void)
{

  huart1.Instance = USART1;
  huart1.Init.BaudRate = 9600;
  huart1.Init.WordLength = UART_WORDLENGTH_8B;
  huart1.Init.StopBits = UART_STOPBITS_1;
  huart1.Init.Parity = UART_PARITY_NONE;
  huart1.Init.Mode = UART_MODE_TX_RX;
  huart1.Init.HwFlowCtl = UART_HWCONTROL_NONE;
  huart1.Init.OverSampling = UART_OVERSAMPLING_16;
  huart1.Init.OneBitSampling = UART_ONE_BIT_SAMPLE_DISABLE;
  huart1.AdvancedInit.AdvFeatureInit = UART_ADVFEATURE_NO_INIT;
  if (HAL_UART_Init(&huart1) != HAL_OK)
  {
    Error_Handler();
  }

}

static void MX_USB_PCD_Init(void)
{

  hpcd_USB_FS.Instance = USB;
  hpcd_USB_FS.Init.dev_endpoints = 8;
  hpcd_USB_FS.Init.speed = PCD_SPEED_FULL;
  hpcd_USB_FS.Init.phy_itface = PCD_PHY_EMBEDDED;
  hpcd_USB_FS.Init.low_power_enable = DISABLE;
  hpcd_USB_FS.Init.battery_charging_enable = DISABLE;
  if (HAL_PCD_Init(&hpcd_USB_FS) != HAL_OK)
  {
    Error_Handler();
  }

}

static void MX_GPIO_Init(void)
{
  GPIO_InitTypeDef GPIO_InitStruct = {0};

  /* GPIO Ports Clock Enable */
  __HAL_RCC_GPIOE_CLK_ENABLE();
  __HAL_RCC_GPIOC_CLK_ENABLE();
  __HAL_RCC_GPIOF_CLK_ENABLE();
  __HAL_RCC_GPIOA_CLK_ENABLE();
  __HAL_RCC_GPIOB_CLK_ENABLE();
  __HAL_RCC_GPIOD_CLK_ENABLE();

  /*Configure GPIO pin Output Level */
  HAL_GPIO_WritePin(GPIOE, CS_I2C_SPI_Pin|LD4_Pin|LD3_Pin|LD5_Pin
                          |LD7_Pin|LD9_Pin|LD10_Pin|LD8_Pin
                          |LD6_Pin, GPIO_PIN_RESET);

  /*Configure GPIO pin Output Level */
  HAL_GPIO_WritePin(GPIOD, GPIO_PIN_8|GPIO_PIN_9|GPIO_PIN_10|GPIO_PIN_11
                          |GPIO_PIN_12|GPIO_PIN_13|GPIO_PIN_14|GPIO_PIN_0
                          |GPIO_PIN_1|GPIO_PIN_2|GPIO_PIN_3, GPIO_PIN_RESET);

  /*Configure GPIO pins : DRDY_Pin MEMS_INT3_Pin MEMS_INT4_Pin MEMS_INT1_Pin
                           MEMS_INT2_Pin */
  GPIO_InitStruct.Pin = DRDY_Pin|MEMS_INT3_Pin|MEMS_INT4_Pin|MEMS_INT1_Pin
                          |MEMS_INT2_Pin;
  GPIO_InitStruct.Mode = GPIO_MODE_EVT_RISING;
  GPIO_InitStruct.Pull = GPIO_NOPULL;
  HAL_GPIO_Init(GPIOE, &GPIO_InitStruct);

  /*Configure GPIO pins : CS_I2C_SPI_Pin LD4_Pin LD3_Pin LD5_Pin
                           LD7_Pin LD9_Pin LD10_Pin LD8_Pin
                           LD6_Pin */
  GPIO_InitStruct.Pin = CS_I2C_SPI_Pin|LD4_Pin|LD3_Pin|LD5_Pin
                          |LD7_Pin|LD9_Pin|LD10_Pin|LD8_Pin
                          |LD6_Pin;
  GPIO_InitStruct.Mode = GPIO_MODE_OUTPUT_PP;
  GPIO_InitStruct.Pull = GPIO_NOPULL;
  GPIO_InitStruct.Speed = GPIO_SPEED_FREQ_LOW;
  HAL_GPIO_Init(GPIOE, &GPIO_InitStruct);

  /*Configure GPIO pin : B1_Pin */
  GPIO_InitStruct.Pin = B1_Pin;
  GPIO_InitStruct.Mode = GPIO_MODE_INPUT;
  GPIO_InitStruct.Pull = GPIO_NOPULL;
  HAL_GPIO_Init(B1_GPIO_Port, &GPIO_InitStruct);

  /*Configure GPIO pins : PB12 PB13 PB14 PB15 */
  GPIO_InitStruct.Pin = GPIO_PIN_12|GPIO_PIN_13|GPIO_PIN_14|GPIO_PIN_15;
  GPIO_InitStruct.Mode = GPIO_MODE_IT_RISING;
  GPIO_InitStruct.Pull = GPIO_PULLDOWN;
  HAL_GPIO_Init(GPIOB, &GPIO_InitStruct);

  /*Configure GPIO pins : PD8 PD9 PD10 PD11
                           PD12 PD13 PD14 PD0
                           PD1 PD2 PD3 */
  GPIO_InitStruct.Pin = GPIO_PIN_8|GPIO_PIN_9|GPIO_PIN_10|GPIO_PIN_11
                          |GPIO_PIN_12|GPIO_PIN_13|GPIO_PIN_14|GPIO_PIN_0
                          |GPIO_PIN_1|GPIO_PIN_2|GPIO_PIN_3;
  GPIO_InitStruct.Mode = GPIO_MODE_OUTPUT_PP;
  GPIO_InitStruct.Pull = GPIO_NOPULL;
  GPIO_InitStruct.Speed = GPIO_SPEED_FREQ_LOW;
  HAL_GPIO_Init(GPIOD, &GPIO_InitStruct);

  /* EXTI interrupt init*/
  HAL_NVIC_SetPriority(EXTI15_10_IRQn, 1, 0);
  HAL_NVIC_EnableIRQ(EXTI15_10_IRQn);

}

void Error_Handler(void)
{
	__disable_irq();
	while (1) {
	}
}
